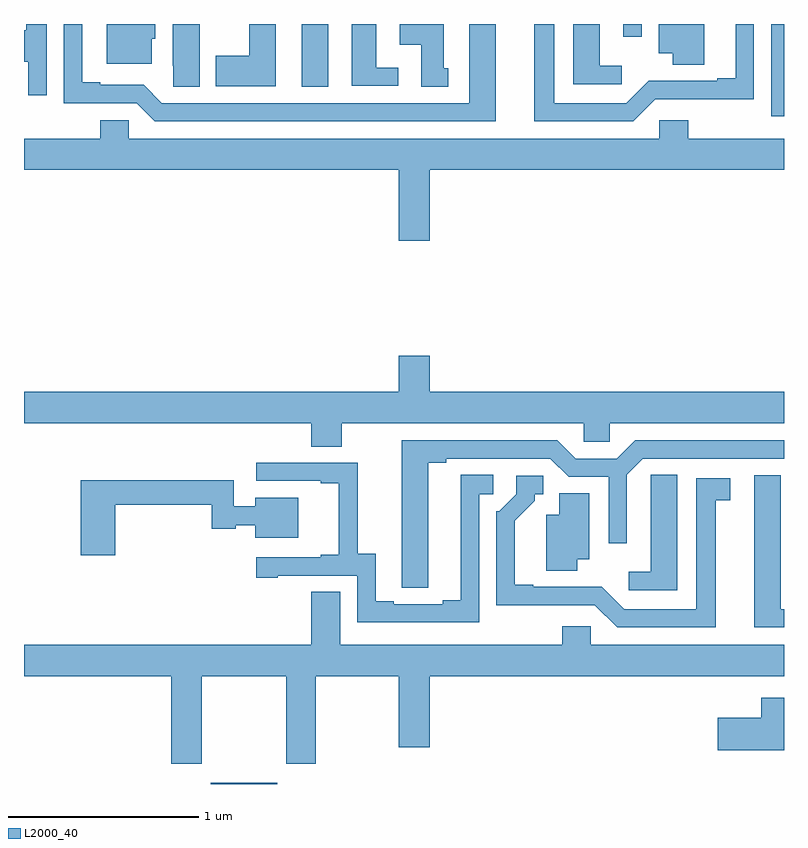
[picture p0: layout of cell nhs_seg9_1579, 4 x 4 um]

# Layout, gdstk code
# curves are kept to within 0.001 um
import gdstk
lib = gdstk.Library(unit=1e-6, precision=1e-09)
def R(c, l, rs):  # rectangles x0, y0, x1, y1
    for r in rs: c.add(gdstk.rectangle(r[:2], r[2:], *l))
def P(c, l, *ps):  # polygons
    for p in ps: c.add(gdstk.Polygon(p, *l))
L2000_40 = (2000, 40)

nhs_seg9_1579 = lib.new_cell('nhs_seg9_1579')
R(nhs_seg9_1579, L2000_40, [(199.982,1214.5,200.332,1214.506), (202.932,1218.015,203,1218.5), (200.462,1218.169,200.602,1218.5), (202.155,1218.432,202.251,1218.5)])
P(nhs_seg9_1579, L2000_40, [(201.484,1218.5),(201.344,1218.5),(201.344,1218.084),(199.725,1218.084),(199.629,1218.18),(199.402,1218.18),(199.402,1218.193),(199.306,1218.193),(199.306,1218.5),(199.209,1218.5),(199.209,1218.084),(199.593,1218.084),(199.689,1217.988),(201.484,1217.988)],
  [(202.147,1218.28),(202.03,1218.28),(202.03,1218.5),(201.89,1218.5),(201.89,1218.183),(202.147,1218.183)],
  [(199.672,1218.423),(199.69,1218.423),(199.69,1218.5),(199.436,1218.5),(199.436,1218.29),(199.672,1218.29)],
  [(202.579,1218.5),(202.34,1218.5),(202.34,1218.347),(202.415,1218.347),(202.415,1218.286),(202.579,1218.286)],
  [(202.323,1218.105),(202.842,1218.104),(202.842,1218.5),(202.745,1218.5),(202.745,1218.214),(202.649,1218.214),(202.649,1218.201),(202.288,1218.202),(202.17,1218.084),(201.79,1218.084),(201.79,1218.5),(201.686,1218.5),(201.686,1217.988),(202.206,1217.988)],
  [(199.924,1218.5),(199.784,1218.5),(199.784,1218.28),(199.785,1218.28),(199.785,1218.169),(199.924,1218.169)],
  [(200.326,1218.5),(200.186,1218.5),(200.186,1218.333),(200.009,1218.333),(200.009,1218.173),(200.326,1218.173)],
  [(200.971,1218.27),(200.854,1218.27),(200.854,1218.5),(200.726,1218.5),(200.726,1218.174),(200.971,1218.174)],
  [(201.232,1218.267),(201.208,1218.267),(201.208,1218.5),(200.978,1218.5),(200.978,1218.392),(201.092,1218.392),(201.092,1218.169),(201.232,1218.169)],
  [(199.119,1218.5),(199.011,1218.5),(199.011,1218.468),(199,1218.468),(199,1218.302),(199.022,1218.302),(199.022,1218.126),(199.119,1218.126)],
  [(203,1217.896),(202.496,1217.896),(202.496,1217.994),(202.344,1217.994),(202.344,1217.896),(199.551,1217.896),(199.551,1217.994),(199.4,1217.994),(199.4,1217.896),(199,1217.896),(199,1217.732),(200.972,1217.732),(200.972,1217.358),(201.136,1217.358),(201.136,1217.732),(203,1217.732)],
  [(199,1216.4),(200.513,1216.4),(200.513,1216.276),(200.673,1216.276),(200.673,1216.4),(201.945,1216.4),(201.945,1216.302),(202.083,1216.302),(202.083,1216.4),(203,1216.4),(203,1216.564),(201.136,1216.564),(201.136,1216.753),(200.972,1216.753),(200.972,1216.564),(199,1216.564)],
  [(201.127,1216.192),(201.223,1216.192),(201.223,1216.212),(201.771,1216.212),(201.867,1216.116),(202.077,1216.116),(202.077,1215.768),(202.173,1215.768),(202.173,1216.128),(202.257,1216.212),(203,1216.212),(203,1216.308),(202.217,1216.308),(202.121,1216.212),(201.903,1216.212),(201.807,1216.308),(200.987,1216.308),(200.988,1215.532),(201.127,1215.532)],
  [(201.396,1216.026),(201.469,1216.026),(201.469,1216.127),(201.299,1216.127),(201.299,1215.467),(201.203,1215.467),(201.203,1215.447),(200.947,1215.447),(200.947,1215.462),(200.851,1215.462),(200.851,1215.713),(200.757,1215.713),(200.757,1216.191),(200.223,1216.191),(200.223,1216.095),(200.561,1216.095),(200.561,1216.083),(200.657,1216.083),(200.657,1215.706),(200.561,1215.706),(200.561,1215.693),(200.223,1215.693),(200.223,1215.585),(200.335,1215.585),(200.335,1215.597),(200.754,1215.597),(200.754,1215.351),(201.396,1215.351)],
  [(202.438,1216.127),(202.299,1216.127),(202.299,1216.019),(202.298,1216.019),(202.298,1215.616),(202.182,1215.616),(202.182,1215.519),(202.438,1215.519)],
  [(203,1215.42),(202.984,1215.42),(202.984,1216.126),(202.844,1216.126),(202.844,1215.324),(203,1215.324)],
  [(202.642,1215.994),(202.717,1215.994),(202.717,1216.11),(202.538,1216.11),(202.538,1215.42),(202.158,1215.42),(202.04,1215.538),(201.679,1215.537),(201.679,1215.55),(201.583,1215.55),(201.583,1215.886),(201.688,1215.991),(201.688,1216.026),(201.733,1216.026),(201.733,1216.122),(201.591,1216.122),(201.591,1216.026),(201.501,1215.936),(201.486,1215.936),(201.486,1215.44),(202.005,1215.441),(202.122,1215.324),(202.642,1215.324)],
  [(199.481,1215.97),(199.987,1215.97),(199.987,1215.844),(200.115,1215.844),(200.115,1215.863),(200.216,1215.863),(200.216,1215.797),(200.443,1215.797),(200.443,1216.006),(200.216,1216.006),(200.216,1215.961),(200.103,1215.961),(200.103,1216.099),(199.298,1216.099),(199.298,1215.705),(199.481,1215.705)],
  [(201.913,1215.683),(201.976,1215.683),(201.976,1216.031),(201.818,1216.031),(201.818,1215.916),(201.749,1215.916),(201.749,1215.622),(201.913,1215.622)],
  [(199.935,1215.068),(200.38,1215.068),(200.38,1214.607),(200.535,1214.607),(200.535,1215.068),(200.972,1215.068),(200.972,1214.694),(201.136,1214.694),(201.136,1215.068),(203,1215.068),(203,1215.232),(201.984,1215.232),(201.984,1215.33),(201.833,1215.33),(201.833,1215.232),(200.665,1215.232),(200.665,1215.512),(200.513,1215.512),(200.513,1215.232),(199,1215.232),(199,1215.068),(199.775,1215.068),(199.775,1214.607),(199.935,1214.607)],
  [(203,1214.953),(202.88,1214.953),(202.88,1214.848),(202.65,1214.848),(202.65,1214.678),(203,1214.678)])

lib.write_gds('nhs_seg9_1579.gds')
